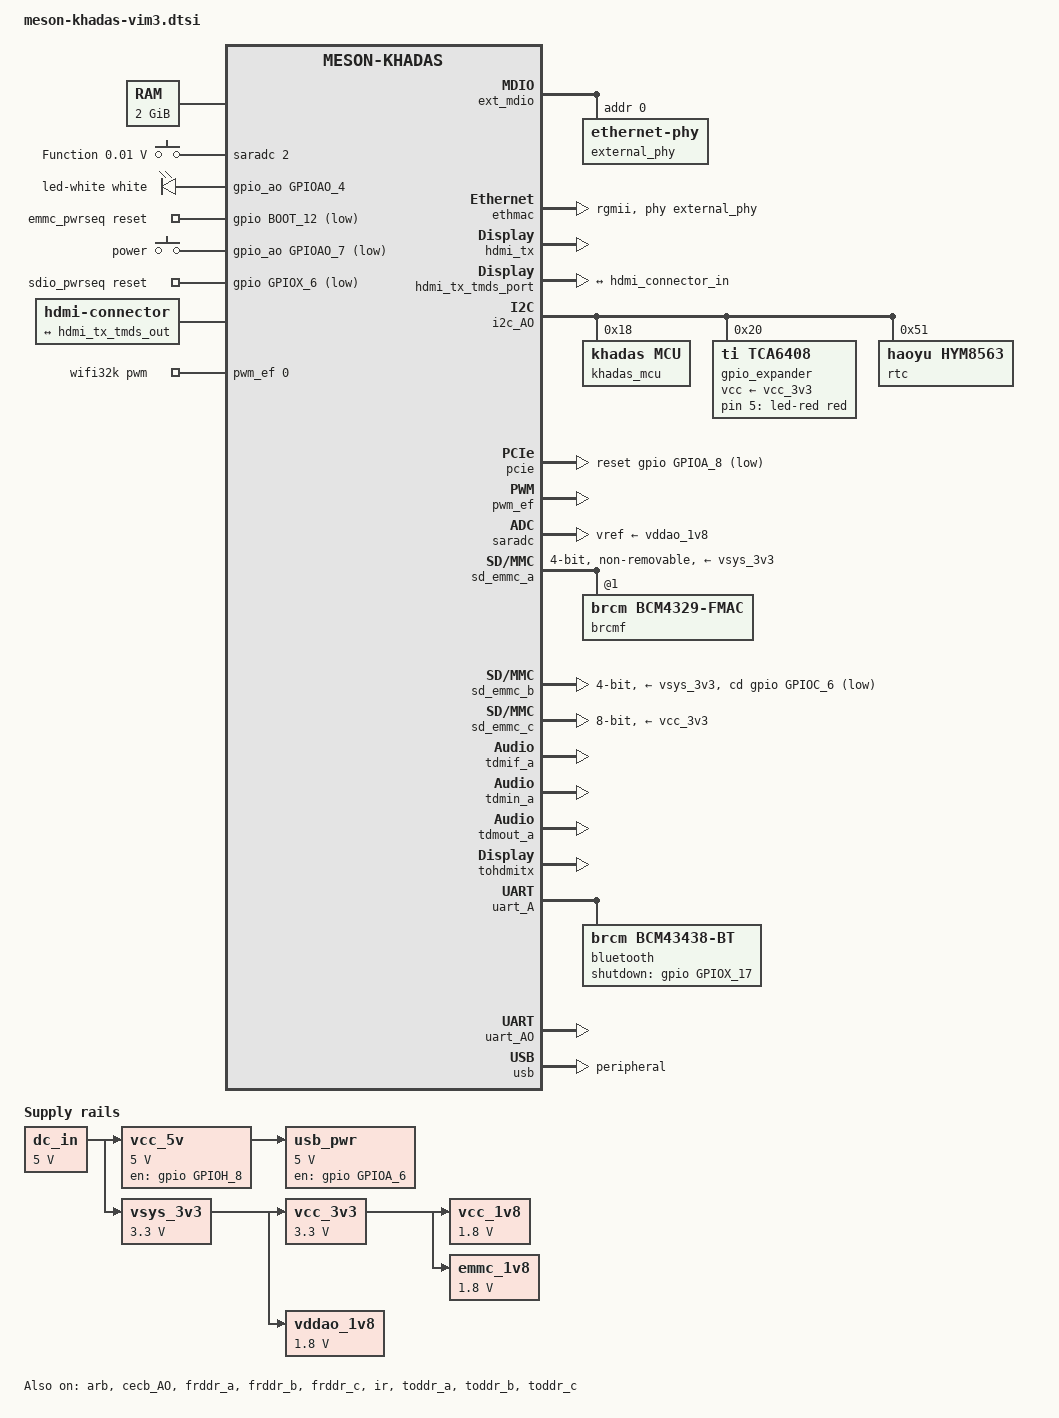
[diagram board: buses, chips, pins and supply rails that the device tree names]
// SPDX-License-Identifier: (GPL-2.0+ OR MIT)
/*
 * Copyright (c) 2019 BayLibre, SAS
 * Author: Neil Armstrong <narmstrong@baylibre.com>
 * Copyright (c) 2019 Christian Hewitt <christianshewitt@gmail.com>
 */

#include <dt-bindings/input/input.h>
#include <dt-bindings/leds/common.h>
#include <dt-bindings/gpio/meson-g12a-gpio.h>
#include <dt-bindings/sound/meson-g12a-tohdmitx.h>

/ {
	aliases {
		serial0 = &uart_AO;
		ethernet0 = &ethmac;
		rtc0 = &rtc;
		rtc1 = &vrtc;
	};

	chosen {
		stdout-path = "serial0:115200n8";
	};

	memory@0 {
		device_type = "memory";
		reg = <0x0 0x0 0x0 0x80000000>;
	};

	adc-keys {
		compatible = "adc-keys";
		io-channels = <&saradc 2>;
		io-channel-names = "buttons";
		keyup-threshold-microvolt = <1710000>;

		button-function {
			label = "Function";
			linux,code = <KEY_FN>;
			press-threshold-microvolt = <10000>;
		};
	};

	leds {
		compatible = "gpio-leds";

		led-white {
			color = <LED_COLOR_ID_WHITE>;
			function = LED_FUNCTION_STATUS;
			gpios = <&gpio_ao GPIOAO_4 GPIO_ACTIVE_HIGH>;
			linux,default-trigger = "heartbeat";
		};

		led-red {
			color = <LED_COLOR_ID_RED>;
			function = LED_FUNCTION_STATUS;
			gpios = <&gpio_expander 5 GPIO_ACTIVE_HIGH>;
		};
	};

	emmc_pwrseq: emmc-pwrseq {
		compatible = "mmc-pwrseq-emmc";
		reset-gpios = <&gpio BOOT_12 GPIO_ACTIVE_LOW>;
	};

	gpio-keys-polled {
		compatible = "gpio-keys-polled";
		poll-interval = <100>;

		power-button {
			label = "power";
			linux,code = <KEY_POWER>;
			gpios = <&gpio_ao GPIOAO_7 GPIO_ACTIVE_LOW>;
		};
	};

	sdio_pwrseq: sdio-pwrseq {
		compatible = "mmc-pwrseq-simple";
		reset-gpios = <&gpio GPIOX_6 GPIO_ACTIVE_LOW>;
		clocks = <&wifi32k>;
		clock-names = "ext_clock";
	};

	dc_in: regulator-dc-in {
		compatible = "regulator-fixed";
		regulator-name = "DC_IN";
		regulator-min-microvolt = <5000000>;
		regulator-max-microvolt = <5000000>;
		regulator-always-on;
	};

	vcc_5v: regulator-vcc-5v {
		compatible = "regulator-fixed";
		regulator-name = "VCC_5V";
		regulator-min-microvolt = <5000000>;
		regulator-max-microvolt = <5000000>;
		vin-supply = <&dc_in>;

		gpio = <&gpio GPIOH_8 GPIO_OPEN_DRAIN>;
		enable-active-high;
	};

	vcc_1v8: regulator-vcc-1v8 {
		compatible = "regulator-fixed";
		regulator-name = "VCC_1V8";
		regulator-min-microvolt = <1800000>;
		regulator-max-microvolt = <1800000>;
		vin-supply = <&vcc_3v3>;
		regulator-always-on;
	};

	vcc_3v3: regulator-vcc-3v3 {
		compatible = "regulator-fixed";
		regulator-name = "VCC_3V3";
		regulator-min-microvolt = <3300000>;
		regulator-max-microvolt = <3300000>;
		vin-supply = <&vsys_3v3>;
		regulator-always-on;
		/* FIXME: actually controlled by VDDCPU_B_EN */
	};

	vddao_1v8: regulator-vddao-1v8 {
		compatible = "regulator-fixed";
		regulator-name = "VDDIO_AO1V8";
		regulator-min-microvolt = <1800000>;
		regulator-max-microvolt = <1800000>;
		vin-supply = <&vsys_3v3>;
		regulator-always-on;
	};

	emmc_1v8: regulator-emmc-1v8 {
		compatible = "regulator-fixed";
		regulator-name = "EMMC_AO1V8";
		regulator-min-microvolt = <1800000>;
		regulator-max-microvolt = <1800000>;
		vin-supply = <&vcc_3v3>;
		regulator-always-on;
	};

	vsys_3v3: regulator-vsys-3v3 {
		compatible = "regulator-fixed";
		regulator-name = "VSYS_3V3";
		regulator-min-microvolt = <3300000>;
		regulator-max-microvolt = <3300000>;
		vin-supply = <&dc_in>;
		regulator-always-on;
	};

	usb_pwr: regulator-usb-pwr {
		compatible = "regulator-fixed";
		regulator-name = "USB_PWR";
		regulator-min-microvolt = <5000000>;
		regulator-max-microvolt = <5000000>;
		vin-supply = <&vcc_5v>;

		gpio = <&gpio GPIOA_6 GPIO_ACTIVE_HIGH>;
		enable-active-high;
	};

	hdmi-connector {
		compatible = "hdmi-connector";
		type = "a";

		port {
			hdmi_connector_in: endpoint {
				remote-endpoint = <&hdmi_tx_tmds_out>;
			};
		};
	};


	sound {
		compatible = "amlogic,axg-sound-card";
		model = "KHADAS-VIM3";
		audio-aux-devs = <&tdmin_a>, <&tdmout_a>;
		audio-routing = "TDMOUT_A IN 0", "FRDDR_A OUT 0",
				"TDMOUT_A IN 1", "FRDDR_B OUT 0",
				"TDMOUT_A IN 2", "FRDDR_C OUT 0",
				"TDM_A Playback", "TDMOUT_A OUT",
				"TDMIN_A IN 0", "TDM_A Capture",
				"TDMIN_A IN 3", "TDM_A Loopback",
				"TODDR_A IN 0", "TDMIN_A OUT",
				"TODDR_B IN 0", "TDMIN_A OUT",
				"TODDR_C IN 0", "TDMIN_A OUT";

		assigned-clocks = <&clkc CLKID_MPLL2>,
				  <&clkc CLKID_MPLL0>,
				  <&clkc CLKID_MPLL1>;
		assigned-clock-parents = <0>, <0>, <0>;
		assigned-clock-rates = <294912000>,
				       <270950400>,
				       <393216000>;

		dai-link-0 {
			sound-dai = <&frddr_a>;
		};

		dai-link-1 {
			sound-dai = <&frddr_b>;
		};

		dai-link-2 {
			sound-dai = <&frddr_c>;
		};

		dai-link-3 {
			sound-dai = <&toddr_a>;
		};

		dai-link-4 {
			sound-dai = <&toddr_b>;
		};

		dai-link-5 {
			sound-dai = <&toddr_c>;
		};

		/* 8ch hdmi interface */
		dai-link-6 {
			sound-dai = <&tdmif_a>;
			dai-format = "i2s";
			dai-tdm-slot-tx-mask-0 = <1 1>;
			dai-tdm-slot-tx-mask-1 = <1 1>;
			dai-tdm-slot-tx-mask-2 = <1 1>;
			dai-tdm-slot-tx-mask-3 = <1 1>;
			mclk-fs = <256>;

			codec {
				sound-dai = <&tohdmitx TOHDMITX_I2S_IN_A>;
			};
		};

		/* hdmi glue */
		dai-link-7 {
			sound-dai = <&tohdmitx TOHDMITX_I2S_OUT>;

			codec {
				sound-dai = <&hdmi_tx>;
			};
		};
	};

	wifi32k: wifi32k {
		compatible = "pwm-clock";
		#clock-cells = <0>;
		clock-frequency = <32768>;
		pwms = <&pwm_ef 0 30518 0>; /* PWM_E at 32.768KHz */
	};
};

&arb {
	status = "okay";
};

&clkc_audio {
	status = "okay";
};

&cec_AO {
	pinctrl-0 = <&cec_ao_a_h_pins>;
	pinctrl-names = "default";
	status = "disabled";
	hdmi-phandle = <&hdmi_tx>;
};

&cecb_AO {
	pinctrl-0 = <&cec_ao_b_h_pins>;
	pinctrl-names = "default";
	status = "okay";
	hdmi-phandle = <&hdmi_tx>;
};

&cpu_thermal {
	trips {
		cpu_active: cpu-active {
			temperature = <80000>; /* millicelsius */
			hysteresis = <2000>; /* millicelsius */
			type = "active";
		};
	};

	cooling-maps {
		map {
			trip = <&cpu_active>;
			cooling-device = <&khadas_mcu THERMAL_NO_LIMIT THERMAL_NO_LIMIT>;
		};
	};
};

&ext_mdio {
	external_phy: ethernet-phy@0 {
		/* Realtek RTL8211F (0x001cc916) */
		reg = <0>;
		max-speed = <1000>;

		interrupt-parent = <&gpio_intc>;
		/* MAC_INTR on GPIOZ_14 */
		interrupts = <26 IRQ_TYPE_LEVEL_LOW>;
	};
};

&ethmac {
	pinctrl-0 = <&eth_pins>, <&eth_rgmii_pins>;
	pinctrl-names = "default";
	status = "okay";
	phy-mode = "rgmii";
	phy-handle = <&external_phy>;
	amlogic,tx-delay-ns = <2>;
};

&frddr_a {
	status = "okay";
};

&frddr_b {
	status = "okay";
};

&frddr_c {
	status = "okay";
};

&hdmi_tx {
	status = "okay";
	pinctrl-0 = <&hdmitx_hpd_pins>, <&hdmitx_ddc_pins>;
	pinctrl-names = "default";
	hdmi-supply = <&vcc_5v>;
};

&hdmi_tx_tmds_port {
	hdmi_tx_tmds_out: endpoint {
		remote-endpoint = <&hdmi_connector_in>;
	};
};

&i2c_AO {
	status = "okay";
	pinctrl-0 = <&i2c_ao_sck_pins>, <&i2c_ao_sda_pins>;
	pinctrl-names = "default";

	khadas_mcu: system-controller@18 {
		compatible = "khadas,mcu";
		reg = <0x18>;
		#cooling-cells = <2>;
	};

	gpio_expander: gpio-controller@20 {
		compatible = "ti,tca6408";
		reg = <0x20>;
		vcc-supply = <&vcc_3v3>;
		gpio-controller;
		#gpio-cells = <2>;
	};

	rtc: rtc@51 {
		compatible = "haoyu,hym8563";
		reg = <0x51>;
		#clock-cells = <0>;
	};
};

&ir {
	status = "okay";
	pinctrl-0 = <&remote_input_ao_pins>;
	pinctrl-names = "default";
	linux,rc-map-name = "rc-khadas";
};

&pcie {
	reset-gpios = <&gpio GPIOA_8 GPIO_ACTIVE_LOW>;
};

&pwm_ef {
	status = "okay";
	pinctrl-0 = <&pwm_e_pins>;
	pinctrl-names = "default";
};

&saradc {
	status = "okay";
	vref-supply = <&vddao_1v8>;
};

/* SDIO */
&sd_emmc_a {
	status = "okay";
	pinctrl-0 = <&sdio_pins>;
	pinctrl-1 = <&sdio_clk_gate_pins>;
	pinctrl-names = "default", "clk-gate";
	#address-cells = <1>;
	#size-cells = <0>;

	bus-width = <4>;
	cap-sd-highspeed;
	max-frequency = <100000000>;

	non-removable;
	disable-wp;

	/* WiFi firmware requires power to be kept while in suspend */
	keep-power-in-suspend;

	mmc-pwrseq = <&sdio_pwrseq>;

	vmmc-supply = <&vsys_3v3>;
	vqmmc-supply = <&vddao_1v8>;

	brcmf: wifi@1 {
		reg = <1>;
		compatible = "brcm,bcm4329-fmac";
	};
};

/* SD card */
&sd_emmc_b {
	status = "okay";
	pinctrl-0 = <&sdcard_c_pins>;
	pinctrl-1 = <&sdcard_clk_gate_c_pins>;
	pinctrl-names = "default", "clk-gate";

	bus-width = <4>;
	cap-sd-highspeed;
	max-frequency = <50000000>;
	disable-wp;

	cd-gpios = <&gpio GPIOC_6 GPIO_ACTIVE_LOW>;
	vmmc-supply = <&vsys_3v3>;
	vqmmc-supply = <&vsys_3v3>;
};

/* eMMC */
&sd_emmc_c {
	status = "okay";
	pinctrl-0 = <&emmc_ctrl_pins>, <&emmc_data_8b_pins>, <&emmc_ds_pins>;
	pinctrl-1 = <&emmc_clk_gate_pins>;
	pinctrl-names = "default", "clk-gate";

	bus-width = <8>;
	cap-mmc-highspeed;
	mmc-ddr-1_8v;
	mmc-hs200-1_8v;
	max-frequency = <200000000>;
	disable-wp;

	mmc-pwrseq = <&emmc_pwrseq>;
	vmmc-supply = <&vcc_3v3>;
	vqmmc-supply = <&emmc_1v8>;
};

/*
 * EMMC_D4, EMMC_D5, EMMC_D6 and EMMC_D7 pins are shared between SPI NOR CS
 * and eMMC Data 4 to 7 pins.
 * Replace emmc_data_8b_pins to emmc_data_4b_pins from sd_emmc_c pinctrl-0,
 * and change bus-width to 4 then spifc can be enabled.
 */
&spifc {
	status = "disabled";
	pinctrl-0 = <&nor_pins>;
	pinctrl-names = "default";

	w25q128: flash@0 {
		#address-cells = <1>;
		#size-cells = <1>;
		compatible = "winbond,w25q128fw", "jedec,spi-nor";
		reg = <0>;
		spi-max-frequency = <104000000>;
	};
};

&tdmif_a {
	status = "okay";
};

&tdmin_a {
	status = "okay";
};

&tdmout_a {
	status = "okay";
};

&toddr_a {
	status = "okay";
};

&toddr_b {
	status = "okay";
};

&toddr_c {
	status = "okay";
};

&tohdmitx {
	status = "okay";
};

&uart_A {
	status = "okay";
	pinctrl-0 = <&uart_a_pins>, <&uart_a_cts_rts_pins>;
	pinctrl-names = "default";
	uart-has-rtscts;

	bluetooth {
		compatible = "brcm,bcm43438-bt";
		shutdown-gpios = <&gpio GPIOX_17 GPIO_ACTIVE_HIGH>;
		max-speed = <2000000>;
		clocks = <&wifi32k>;
		clock-names = "lpo";
	};
};

&uart_AO {
	status = "okay";
	pinctrl-0 = <&uart_ao_a_pins>;
	pinctrl-names = "default";
};

&usb2_phy0 {
	phy-supply = <&dc_in>;
};

&usb2_phy1 {
	phy-supply = <&usb_pwr>;
};

&usb3_pcie_phy {
	phy-supply = <&usb_pwr>;
};

&usb {
	status = "okay";
	dr_mode = "peripheral";
};
